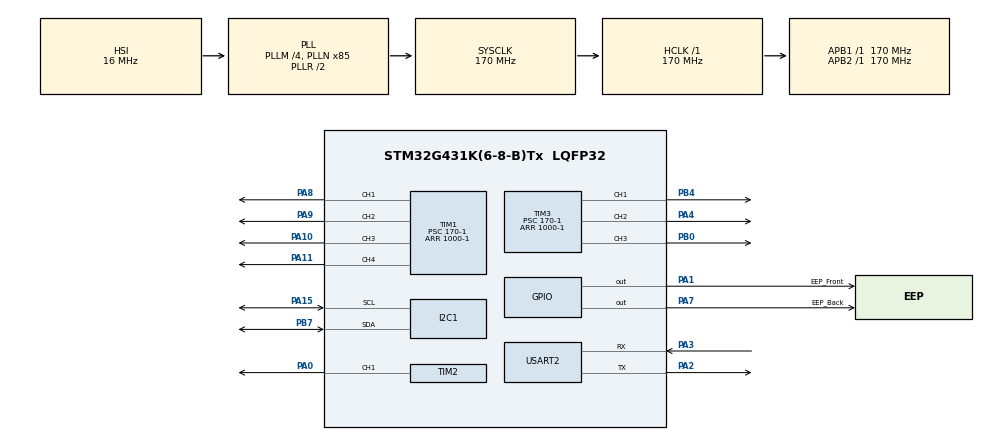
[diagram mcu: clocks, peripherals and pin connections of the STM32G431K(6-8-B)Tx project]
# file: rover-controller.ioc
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I2C1.Timing=0x40B285C2
Mcu.Family=STM32G4
Mcu.Name=STM32G431K(6-8-B)Tx
Mcu.Package=LQFP32
NUCLEO-G431KB.LD2=true
NUCLEO-G431KB.VCP=false
NVIC.I2C1_EV_IRQn=true\:5\:0\:true\:false\:true\:true\:true\:true
NVIC.PriorityGroup=NVIC_PRIORITYGROUP_4
PA0.Signal=S_TIM2_CH1
PA1.GPIO_Label=EEP_Front
PA1.Signal=GPIO_Output
PA10.Signal=S_TIM1_CH3
PA11.Signal=S_TIM1_CH4
PA13.Signal=SYS_JTMS-SWDIO
PA14.GPIO_Label=T_SWCLK
PA14.Signal=SYS_JTCK-SWCLK
PA15.Mode=I2C
PA15.Signal=I2C1_SCL
PA2.Mode=Asynchronous
PA2.Signal=USART2_TX
PA3.Mode=Asynchronous
PA3.Signal=USART2_RX
PA4.Signal=S_TIM3_CH2
PA7.GPIO_Label=EEP_Back
PA7.Signal=GPIO_Output
PA8.Signal=S_TIM1_CH1
PA9.Signal=S_TIM1_CH2
PB0.Signal=S_TIM3_CH3
PB4.Signal=S_TIM3_CH1
PB7.Mode=I2C
PB7.Signal=I2C1_SDA
ProjectManager.HeapSize=0x200
ProjectManager.StackSize=0x400
ProjectManager.TargetToolchain=STM32CubeIDE
RCC.ADC12Freq_Value=170000000
RCC.AHBFreq_Value=170000000
RCC.APB1Freq_Value=170000000
RCC.APB1TimFreq_Value=170000000
RCC.APB2Freq_Value=170000000
RCC.APB2TimFreq_Value=170000000
RCC.CortexFreq_Value=170000000
RCC.EXTERNAL_CLOCK_VALUE=12288000
RCC.HCLKFreq_Value=170000000
RCC.HSE_VALUE=8000000
RCC.HSI48_VALUE=48000000
RCC.HSI_VALUE=16000000
RCC.LSE_VALUE=32768
RCC.PLLM=RCC_PLLM_DIV4
RCC.PLLN=85
RCC.SYSCLKFreq_VALUE=170000000
RCC.SYSCLKSource=RCC_SYSCLKSOURCE_PLLCLK
RCC.USBFreq_Value=170000000
RCC.VCOOutputFreq_Value=340000000
SH.S_TIM1_CH1.0=TIM1_CH1,PWM Generation1 CH1
SH.S_TIM1_CH2.0=TIM1_CH2,PWM Generation2 CH2
SH.S_TIM1_CH3.0=TIM1_CH3,PWM Generation3 CH3
SH.S_TIM1_CH4.0=TIM1_CH4,PWM Generation4 CH4
SH.S_TIM2_CH1.0=TIM2_CH1,PWM Generation1 CH1
SH.S_TIM3_CH1.0=TIM3_CH1,PWM Generation1 CH1
SH.S_TIM3_CH2.0=TIM3_CH2,PWM Generation2 CH2
SH.S_TIM3_CH3.0=TIM3_CH3,PWM Generation3 CH3
TIM1.Channel-PWM\ Generation1\ CH1=TIM_CHANNEL_1
TIM1.Channel-PWM\ Generation2\ CH2=TIM_CHANNEL_2
TIM1.Channel-PWM\ Generation3\ CH3=TIM_CHANNEL_3
TIM1.Channel-PWM\ Generation4\ CH4=TIM_CHANNEL_4
TIM1.PeriodNoDither=1000-1
TIM1.Prescaler=170-1
TIM2.Channel-PWM\ Generation1\ CH1=TIM_CHANNEL_1
TIM2.PeriodNoDither=1000-1
TIM2.Prescaler=170-1
TIM3.Channel-PWM\ Generation1\ CH1=TIM_CHANNEL_1
TIM3.Channel-PWM\ Generation2\ CH2=TIM_CHANNEL_2
TIM3.Channel-PWM\ Generation3\ CH3=TIM_CHANNEL_3
TIM3.PeriodNoDither=1000-1
TIM3.Prescaler=170-1
USART2.VirtualMode-Asynchronous=VM_ASYNC
VP_NUCLEO-G431KB_VS_BSP_COMMON.Mode=COMMON
VP_SYS_VS_DBSignals.Mode=DisableDeadBatterySignals
VP_TIM1_VS_ClockSourceINT.Mode=Internal
VP_TIM3_VS_ClockSourceINT.Mode=Internal
board=NUCLEO-G431KB

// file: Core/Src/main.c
/* USER CODE BEGIN Header */
/**
 ******************************************************************************
 * @file           : main.c
 * @brief          : Main program body
 ******************************************************************************
 * @attention
 *
 * Copyright (c) 2026 STMicroelectronics.
 * All rights reserved.
 *
 * This software is licensed under terms that can be found in the LICENSE file
 * in the root directory of this software component.
 * If no LICENSE file comes with this software, it is provided AS-IS.
 *
 ******************************************************************************
 */
/* USER CODE END Header */
#include "main.h"

/* USER CODE BEGIN Includes */
#include "stdio.h"
/* USER CODE END Includes */

/* USER CODE BEGIN PTD */

typedef enum {
	MOTOR_RIGHT_FRONT,
	MOTOR_LEFT_FRONT,
	MOTOR_RIGHT_BACK,
	MOTOR_LEFT_BACK
} Motor;

typedef struct {
	int16_t acc_x;
	int16_t acc_y;
	int16_t acc_z;
	int16_t temp;
	int16_t gyro_x;
	int16_t gyro_y;
	int16_t gyro_z;
} MPU6050_Data;

/* USER CODE END PTD */

/* USER CODE BEGIN PD */

#define MPU6050_ADDR ((uint16_t) 0x68 << 1)
#define MPU6050_WHO_AM_I_ADDR ((uint16_t) 0x75)
#define MPU6050_PWR_MGMT_1 ((uint16_t) 0x6B)
#define MPU6050_GYRO_CONFIG ((uint16_t) 0x1B)
#define MPU6050_ACCEL_CONFIG ((uint16_t) 0x1C)

// This point to ACC_X_H but we use burst reading to read
// all sensor data at once
#define MPU6050_DATA_ADDR ((uint16_t) 0x3B)
/* USER CODE END PD */

I2C_HandleTypeDef hi2c1;

TIM_HandleTypeDef htim1;
TIM_HandleTypeDef htim2;
TIM_HandleTypeDef htim3;

UART_HandleTypeDef huart2;

/* USER CODE BEGIN PV */
uint8_t rx_command;
const uint32_t COMMAND_TIMEOUT_MS = 500;

volatile uint8_t i2c_busy = 0;
volatile uint8_t mpu_data_ready = 0;
volatile uint8_t i2c_error = 0;

/* USER CODE END PV */

void SystemClock_Config(void);
static void MX_GPIO_Init(void);
static void MX_USART2_UART_Init(void);
static void MX_TIM1_Init(void);
static void MX_TIM3_Init(void);
static void MX_I2C1_Init(void);
static void MX_TIM2_Init(void);
/* USER CODE BEGIN PFP */

/**
  * @brief  Enables all Timer channels for the Motors as well as EEP.
  *
  * @retval None
  */
void EnableMotorPWM(void);

/**
  * @brief  Sets the speed of a given motor
  *
  * @note   The speed dictated the Duty Cycle following the function
  * 		DutyCycle (%) = CCR / (ARR + 1) x 100
  *
  * 		Where ARR is 999.
  *
  * @param motor Motor to control (MOTOR_LEFT or MOTOR_RIGHT).
  * @param speed PWM value from -999 to +999.
  *              Positive = forward, negative = reverse,
  *              zero = stop.
  */
void Motor_SetSpeed(Motor motor, int32_t speed);

/**
  * @brief  Check connection and initialize the MPU6050 sensor.
  *
  */
void EnableMPU6050(void);

void readMPU6050(MPU6050_Data *pData);

void printMPU6050(MPU6050_Data *pData);
/* USER CODE END PFP */

/* USER CODE BEGIN 0 */
void EnableMotorPWM(void){
	  // Enable EEP Front
	  HAL_GPIO_WritePin(EEP_Front_GPIO_Port, EEP_Front_Pin, GPIO_PIN_SET);
	// Right - Front Wheel
	  HAL_TIM_PWM_Start(&htim1, TIM_CHANNEL_1);
	  HAL_TIM_PWM_Start(&htim1, TIM_CHANNEL_2);
	  // Left - Front Wheel
	  HAL_TIM_PWM_Start(&htim1, TIM_CHANNEL_3);
	  HAL_TIM_PWM_Start(&htim1, TIM_CHANNEL_4);

	  // Enable EEP Back
	  HAL_GPIO_WritePin(EEP_Back_GPIO_Port, EEP_Back_Pin, GPIO_PIN_SET);
	// Right - Back Wheel
	  HAL_TIM_PWM_Start(&htim3, TIM_CHANNEL_1);
	  HAL_TIM_PWM_Start(&htim3, TIM_CHANNEL_2);
	  // Left - Back Wheel
	  HAL_TIM_PWM_Start(&htim3, TIM_CHANNEL_3);
	  HAL_TIM_PWM_Start(&htim2, TIM_CHANNEL_1);
}

void Motor_SetSpeed(Motor motor, int32_t speed){
	// Limit speed so we don't accidentally go crazy
	if (speed > 999) speed = 999;
	if (speed < -999) speed = -999;

	// Placeholders for a Wheel's PWM channels
	volatile uint32_t *in1;
	volatile uint32_t *in2;

	// Init the placeholders with the correct CCR pointers
	switch (motor) {
		case MOTOR_RIGHT_FRONT:
			in1 = &TIM1->CCR1;
			in2 = &TIM1->CCR2;
			break;
		case MOTOR_LEFT_FRONT:
			in1 = &TIM1->CCR3;
			in2 = &TIM1->CCR4;
			break;
		case MOTOR_RIGHT_BACK:
			in1 = &TIM3->CCR1;
			in2 = &TIM3->CCR2;
			break;
		case MOTOR_LEFT_BACK:
			in1 = &TIM3->CCR3;
			in2 = &TIM2->CCR1;
			break;
		default:
			return;
	}

	// set the speed depending on direction (forward +, reverse -)
	if (speed > 0) {
		*in1 = (uint32_t) speed;
		*in2 = 0;
	} else if (speed < 0) {
		*in1 = 0;
		// the CCR registers are unsigned int, so we need a - to cancel it out
		*in2 = (uint32_t) (-speed);
	} else {
		*in1 = 0;
		*in2 = 0;
	}

}

void EnableMPU6050(void){
	const uint8_t expected = 0x68; // We expect the upper 6bits of the slave address
	uint8_t pRead;
	uint8_t pWrite;

	HAL_I2C_Mem_Read(&hi2c1, MPU6050_ADDR, MPU6050_WHO_AM_I_ADDR, I2C_MEMADD_SIZE_8BIT, &pRead, 1, 1000);
	if (pRead == expected){
		// Connection established, we can proceed with initialization
		// Wake up by setting all PWR_MGMT_1 bits to 0, including the SLEEP bit (6)
		pWrite = 0;
		HAL_I2C_Mem_Write(&hi2c1, MPU6050_ADDR, MPU6050_PWR_MGMT_1, I2C_MEMADD_SIZE_8BIT, &pWrite, 1, 1000);

		// Set gyroscope range to lowest --> 250 degrees/s (highest sensitivity)
		pWrite = 0;
		HAL_I2C_Mem_Write(&hi2c1, MPU6050_ADDR, MPU6050_GYRO_CONFIG, I2C_MEMADD_SIZE_8BIT, &pWrite, 1, 1000);

		// Set accelerometer range to lowest --> -/+ 2g (highest sensitivity)
		pWrite = 0;
		HAL_I2C_Mem_Write(&hi2c1, MPU6050_ADDR, MPU6050_ACCEL_CONFIG, I2C_MEMADD_SIZE_8BIT, &pWrite, 1, 1000);

	}
}

void readMPU6050(MPU6050_Data *pData){
	// 0x3B (H), 0x3C (L)
	uint8_t buffer[14];

	HAL_I2C_Mem_Read(&hi2c1, MPU6050_ADDR, MPU6050_DATA_ADDR, I2C_MEMADD_SIZE_8BIT, (uint8_t *) buffer, 14, 1000);

	pData->acc_x = (uint16_t) (buffer[0] << 8 | buffer[1]); // 0x3B (H), 0x3C (L), bitwise-OR
	pData->acc_y = (uint16_t) (buffer[2] << 8 | buffer[3]);
	pData->acc_z = (uint16_t) (buffer[4] << 8 | buffer[5]);
	pData->temp = (uint16_t) (buffer[6] << 8 | buffer[7]);
	pData->gyro_x = (uint16_t) (buffer[8] << 8 | buffer[9]);
	pData->gyro_y = (uint16_t) (buffer[10] << 8 | buffer[11]);
	pData->gyro_z = (uint16_t) (buffer[12] << 8 | buffer[13]);
}

uint8_t mpu_buffer[14];

void MPU6050_Read_IT(void)
{
    if (i2c_busy == 0)
    {
        i2c_busy = 1;

        HAL_StatusTypeDef status;

        status = HAL_I2C_Mem_Read_IT(
            &hi2c1,
            MPU6050_ADDR,
			MPU6050_DATA_ADDR,
            I2C_MEMADD_SIZE_8BIT,
            mpu_buffer,
            14
        );

        if (status != HAL_OK)
        {
            i2c_busy = 0;
            i2c_error = 1;
        }
    }
}

void HAL_I2C_MemRxCpltCallback(I2C_HandleTypeDef *hi2c)
{
    if (hi2c->Instance == I2C1)
    {
        i2c_busy = 0;
        mpu_data_ready = 1;
    }
}

void printMPU6050(MPU6050_Data *pData){
	char tx_buffer[128];

	float acc_x_f = pData->acc_x / 16384.0f;
	float acc_y_f = pData->acc_y / 16384.0f;
	float acc_z_f = pData->acc_z / 16384.0f;

	float temp_f = pData->temp / 340.0f + 36.53f;

	float gyro_x_f = pData->gyro_x / 131.068f;
	float gyro_y_f = pData->gyro_y / 131.068f;
	float gyro_z_f = pData->gyro_z / 131.068f;

	int len = sprintf(tx_buffer, "AX:%f, AY:%f, AZ:%f, T:%f, GX:%f, GY:%f, GZ:%f\r\n",
			acc_x_f, acc_y_f, acc_z_f,
			temp_f,
			gyro_x_f,  gyro_y_f,  gyro_z_f);

	HAL_UART_Transmit(&huart2, (uint8_t*)tx_buffer, len, HAL_MAX_DELAY);
}

/* USER CODE END 0 */

int main(void)
{

  /* MCU Configuration--------------------------------------------------------*/

  /* Reset of all peripherals, Initializes the Flash interface and the Systick. */
  HAL_Init();

  /* Configure the system clock */
  SystemClock_Config();

  /* Initialize all configured peripherals */
  MX_GPIO_Init();
  MX_USART2_UART_Init();
  MX_TIM1_Init();
  MX_TIM3_Init();
  MX_I2C1_Init();
  MX_TIM2_Init();
  /* USER CODE BEGIN 2 */

  EnableMotorPWM();
  EnableMPU6050();

  /* USER CODE END 2 */

  /* Initialize leds */
  BSP_LED_Init(LED_GREEN);

  /* Infinite loop */
  /* USER CODE BEGIN WHILE */

  // We set a threshold so our motors don't spin forever if
  // some time elapsed since the last command

  MPU6050_Data mpuData;
  volatile uint32_t last_command_time = HAL_GetTick();

  while (1) {
	  MPU6050_Read_IT();
	 if(mpu_data_ready){
		// MPU
//		readMPU6050(&mpuData);
//		printMPU6050(&mpuData);
		 int16_t accel_x = (int16_t)((mpu_buffer[0] << 8) | mpu_buffer[1]);
		 int16_t accel_y = (int16_t)((mpu_buffer[2] << 8) | mpu_buffer[3]);
		 int16_t accel_z = (int16_t)((mpu_buffer[4] << 8) | mpu_buffer[5]);

		 int16_t temperature = (int16_t)((mpu_buffer[6] << 8) | mpu_buffer[7]);

		 int16_t gyro_x = (int16_t)((mpu_buffer[8] << 8) | mpu_buffer[9]);
		 int16_t gyro_y = (int16_t)((mpu_buffer[10] << 8) | mpu_buffer[11]);
		 int16_t gyro_z = (int16_t)((mpu_buffer[12] << 8) | mpu_buffer[13]);
		 mpu_data_ready = 0;
	 }

	// Check the timeout (Watchdog)
	if ((HAL_GetTick() - last_command_time) >= COMMAND_TIMEOUT_MS){
		// If there was no command in a while (maybe the Rock died), stop the wheels.
		Motor_SetSpeed(MOTOR_RIGHT_FRONT, 0);
		Motor_SetSpeed(MOTOR_LEFT_FRONT, 0);
		Motor_SetSpeed(MOTOR_RIGHT_BACK, 0);
		Motor_SetSpeed(MOTOR_LEFT_BACK, 0);
	}
    // Receive a command via UART
    HAL_StatusTypeDef status = HAL_UART_Receive(&huart2, &rx_command, 1, 50);
    if (status == HAL_OK){
    	switch (rx_command){
    	case 'w':
    		// Drive forward
    		Motor_SetSpeed(MOTOR_RIGHT_FRONT, 500);
    		Motor_SetSpeed(MOTOR_LEFT_FRONT, 500);
    		Motor_SetSpeed(MOTOR_RIGHT_BACK, 500);
    		Motor_SetSpeed(MOTOR_LEFT_BACK, 500);
    		last_command_time = HAL_GetTick();
    		break;
    	case 's':
    		// Drive forward
    		Motor_SetSpeed(MOTOR_RIGHT_FRONT, -500);
    		Motor_SetSpeed(MOTOR_LEFT_FRONT, -500);
    		Motor_SetSpeed(MOTOR_RIGHT_BACK, -500);
    		Motor_SetSpeed(MOTOR_LEFT_BACK, -500);
    		last_command_time = HAL_GetTick();
    		break;
    	case 'd':
    		// Turn Right
    		Motor_SetSpeed(MOTOR_RIGHT_FRONT, -500);
    		Motor_SetSpeed(MOTOR_LEFT_FRONT, 500);
    		Motor_SetSpeed(MOTOR_RIGHT_BACK, -500);
    		Motor_SetSpeed(MOTOR_LEFT_BACK, 500);
    		last_command_time = HAL_GetTick();
    		break;
    	case 'a':
    		// Turn Left
    		Motor_SetSpeed(MOTOR_RIGHT_FRONT, 500);
    		Motor_SetSpeed(MOTOR_LEFT_FRONT, -500);
    		Motor_SetSpeed(MOTOR_RIGHT_BACK, 500);
    		Motor_SetSpeed(MOTOR_LEFT_BACK, -500);
    		last_command_time = HAL_GetTick();
    		break;

    	case ' ': // Space
    		// Stop
    		Motor_SetSpeed(MOTOR_RIGHT_FRONT, 0);
    		Motor_SetSpeed(MOTOR_LEFT_FRONT, 0);
    		Motor_SetSpeed(MOTOR_RIGHT_BACK, 0);
    		Motor_SetSpeed(MOTOR_LEFT_BACK, 0);
    		last_command_time = HAL_GetTick();
    		break;
    	default:
    		break;
    	}

    }

    /* USER CODE END WHILE */

  }
}

void SystemClock_Config(void)
{
  RCC_OscInitTypeDef RCC_OscInitStruct = {0};
  RCC_ClkInitTypeDef RCC_ClkInitStruct = {0};

  /** Configure the main internal regulator output voltage
  */
  HAL_PWREx_ControlVoltageScaling(PWR_REGULATOR_VOLTAGE_SCALE1_BOOST);

  /** Initializes the RCC Oscillators according to the specified parameters
  * in the RCC_OscInitTypeDef structure.
  */
  RCC_OscInitStruct.OscillatorType = RCC_OSCILLATORTYPE_HSI;
  RCC_OscInitStruct.HSIState = RCC_HSI_ON;
  RCC_OscInitStruct.HSICalibrationValue = RCC_HSICALIBRATION_DEFAULT;
  RCC_OscInitStruct.PLL.PLLState = RCC_PLL_ON;
  RCC_OscInitStruct.PLL.PLLSource = RCC_PLLSOURCE_HSI;
  RCC_OscInitStruct.PLL.PLLM = RCC_PLLM_DIV4;
  RCC_OscInitStruct.PLL.PLLN = 85;
  RCC_OscInitStruct.PLL.PLLP = RCC_PLLP_DIV2;
  RCC_OscInitStruct.PLL.PLLQ = RCC_PLLQ_DIV2;
  RCC_OscInitStruct.PLL.PLLR = RCC_PLLR_DIV2;
  if (HAL_RCC_OscConfig(&RCC_OscInitStruct) != HAL_OK)
  {
    Error_Handler();
  }

  /** Initializes the CPU, AHB and APB buses clocks
  */
  RCC_ClkInitStruct.ClockType = RCC_CLOCKTYPE_HCLK|RCC_CLOCKTYPE_SYSCLK
                              |RCC_CLOCKTYPE_PCLK1|RCC_CLOCKTYPE_PCLK2;
  RCC_ClkInitStruct.SYSCLKSource = RCC_SYSCLKSOURCE_PLLCLK;
  RCC_ClkInitStruct.AHBCLKDivider = RCC_SYSCLK_DIV1;
  RCC_ClkInitStruct.APB1CLKDivider = RCC_HCLK_DIV1;
  RCC_ClkInitStruct.APB2CLKDivider = RCC_HCLK_DIV1;

  if (HAL_RCC_ClockConfig(&RCC_ClkInitStruct, FLASH_LATENCY_4) != HAL_OK)
  {
    Error_Handler();
  }
}

static void MX_I2C1_Init(void)
{

  hi2c1.Instance = I2C1;
  hi2c1.Init.Timing = 0x40B285C2;
  hi2c1.Init.OwnAddress1 = 0;
  hi2c1.Init.AddressingMode = I2C_ADDRESSINGMODE_7BIT;
  hi2c1.Init.DualAddressMode = I2C_DUALADDRESS_DISABLE;
  hi2c1.Init.OwnAddress2 = 0;
  hi2c1.Init.OwnAddress2Masks = I2C_OA2_NOMASK;
  hi2c1.Init.GeneralCallMode = I2C_GENERALCALL_DISABLE;
  hi2c1.Init.NoStretchMode = I2C_NOSTRETCH_DISABLE;
  if (HAL_I2C_Init(&hi2c1) != HAL_OK)
  {
    Error_Handler();
  }

  /** Configure Analogue filter
  */
  if (HAL_I2CEx_ConfigAnalogFilter(&hi2c1, I2C_ANALOGFILTER_ENABLE) != HAL_OK)
  {
    Error_Handler();
  }

  /** Configure Digital filter
  */
  if (HAL_I2CEx_ConfigDigitalFilter(&hi2c1, 0) != HAL_OK)
  {
    Error_Handler();
  }

}

static void MX_TIM1_Init(void)
{

  TIM_ClockConfigTypeDef sClockSourceConfig = {0};
  TIM_MasterConfigTypeDef sMasterConfig = {0};
  TIM_OC_InitTypeDef sConfigOC = {0};
  TIM_BreakDeadTimeConfigTypeDef sBreakDeadTimeConfig = {0};

  htim1.Instance = TIM1;
  htim1.Init.Prescaler = 170-1;
  htim1.Init.CounterMode = TIM_COUNTERMODE_UP;
  htim1.Init.Period = 999;
  htim1.Init.ClockDivision = TIM_CLOCKDIVISION_DIV1;
  htim1.Init.RepetitionCounter = 0;
  htim1.Init.AutoReloadPreload = TIM_AUTORELOAD_PRELOAD_DISABLE;
  if (HAL_TIM_Base_Init(&htim1) != HAL_OK)
  {
    Error_Handler();
  }
  sClockSourceConfig.ClockSource = TIM_CLOCKSOURCE_INTERNAL;
  if (HAL_TIM_ConfigClockSource(&htim1, &sClockSourceConfig) != HAL_OK)
  {
    Error_Handler();
  }
  if (HAL_TIM_PWM_Init(&htim1) != HAL_OK)
  {
    Error_Handler();
  }
  sMasterConfig.MasterOutputTrigger = TIM_TRGO_RESET;
  sMasterConfig.MasterOutputTrigger2 = TIM_TRGO2_RESET;
  sMasterConfig.MasterSlaveMode = TIM_MASTERSLAVEMODE_DISABLE;
  if (HAL_TIMEx_MasterConfigSynchronization(&htim1, &sMasterConfig) != HAL_OK)
  {
    Error_Handler();
  }
  sConfigOC.OCMode = TIM_OCMODE_PWM1;
  sConfigOC.Pulse = 0;
  sConfigOC.OCPolarity = TIM_OCPOLARITY_HIGH;
  sConfigOC.OCNPolarity = TIM_OCNPOLARITY_HIGH;
  sConfigOC.OCFastMode = TIM_OCFAST_DISABLE;
  sConfigOC.OCIdleState = TIM_OCIDLESTATE_RESET;
  sConfigOC.OCNIdleState = TIM_OCNIDLESTATE_RESET;
  if (HAL_TIM_PWM_ConfigChannel(&htim1, &sConfigOC, TIM_CHANNEL_1) != HAL_OK)
  {
    Error_Handler();
  }
  if (HAL_TIM_PWM_ConfigChannel(&htim1, &sConfigOC, TIM_CHANNEL_2) != HAL_OK)
  {
    Error_Handler();
  }
  if (HAL_TIM_PWM_ConfigChannel(&htim1, &sConfigOC, TIM_CHANNEL_3) != HAL_OK)
  {
    Error_Handler();
  }
  if (HAL_TIM_PWM_ConfigChannel(&htim1, &sConfigOC, TIM_CHANNEL_4) != HAL_OK)
  {
    Error_Handler();
  }
  sBreakDeadTimeConfig.OffStateRunMode = TIM_OSSR_DISABLE;
  sBreakDeadTimeConfig.OffStateIDLEMode = TIM_OSSI_DISABLE;
  sBreakDeadTimeConfig.LockLevel = TIM_LOCKLEVEL_OFF;
  sBreakDeadTimeConfig.DeadTime = 0;
  sBreakDeadTimeConfig.BreakState = TIM_BREAK_DISABLE;
  sBreakDeadTimeConfig.BreakPolarity = TIM_BREAKPOLARITY_HIGH;
  sBreakDeadTimeConfig.BreakFilter = 0;
  sBreakDeadTimeConfig.BreakAFMode = TIM_BREAK_AFMODE_INPUT;
  sBreakDeadTimeConfig.Break2State = TIM_BREAK2_DISABLE;
  sBreakDeadTimeConfig.Break2Polarity = TIM_BREAK2POLARITY_HIGH;
  sBreakDeadTimeConfig.Break2Filter = 0;
  sBreakDeadTimeConfig.Break2AFMode = TIM_BREAK_AFMODE_INPUT;
  sBreakDeadTimeConfig.AutomaticOutput = TIM_AUTOMATICOUTPUT_DISABLE;
  if (HAL_TIMEx_ConfigBreakDeadTime(&htim1, &sBreakDeadTimeConfig) != HAL_OK)
  {
    Error_Handler();
  }
  HAL_TIM_MspPostInit(&htim1);

}

static void MX_TIM2_Init(void)
{

  TIM_MasterConfigTypeDef sMasterConfig = {0};
  TIM_OC_InitTypeDef sConfigOC = {0};

  htim2.Instance = TIM2;
  htim2.Init.Prescaler = 170-1;
  htim2.Init.CounterMode = TIM_COUNTERMODE_UP;
  htim2.Init.Period = 999;
  htim2.Init.ClockDivision = TIM_CLOCKDIVISION_DIV1;
  htim2.Init.AutoReloadPreload = TIM_AUTORELOAD_PRELOAD_DISABLE;
  if (HAL_TIM_PWM_Init(&htim2) != HAL_OK)
  {
    Error_Handler();
  }
  sMasterConfig.MasterOutputTrigger = TIM_TRGO_RESET;
  sMasterConfig.MasterSlaveMode = TIM_MASTERSLAVEMODE_DISABLE;
  if (HAL_TIMEx_MasterConfigSynchronization(&htim2, &sMasterConfig) != HAL_OK)
  {
    Error_Handler();
  }
  sConfigOC.OCMode = TIM_OCMODE_PWM1;
  sConfigOC.Pulse = 0;
  sConfigOC.OCPolarity = TIM_OCPOLARITY_HIGH;
  sConfigOC.OCFastMode = TIM_OCFAST_DISABLE;
  if (HAL_TIM_PWM_ConfigChannel(&htim2, &sConfigOC, TIM_CHANNEL_1) != HAL_OK)
  {
    Error_Handler();
  }
  HAL_TIM_MspPostInit(&htim2);

}

static void MX_TIM3_Init(void)
{

  TIM_ClockConfigTypeDef sClockSourceConfig = {0};
  TIM_MasterConfigTypeDef sMasterConfig = {0};
  TIM_OC_InitTypeDef sConfigOC = {0};

  htim3.Instance = TIM3;
  htim3.Init.Prescaler = 170-1;
  htim3.Init.CounterMode = TIM_COUNTERMODE_UP;
  htim3.Init.Period = 999;
  htim3.Init.ClockDivision = TIM_CLOCKDIVISION_DIV1;
  htim3.Init.AutoReloadPreload = TIM_AUTORELOAD_PRELOAD_DISABLE;
  if (HAL_TIM_Base_Init(&htim3) != HAL_OK)
  {
    Error_Handler();
  }
  sClockSourceConfig.ClockSource = TIM_CLOCKSOURCE_INTERNAL;
  if (HAL_TIM_ConfigClockSource(&htim3, &sClockSourceConfig) != HAL_OK)
  {
    Error_Handler();
  }
  if (HAL_TIM_PWM_Init(&htim3) != HAL_OK)
  {
    Error_Handler();
  }
  sMasterConfig.MasterOutputTrigger = TIM_TRGO_RESET;
  sMasterConfig.MasterSlaveMode = TIM_MASTERSLAVEMODE_DISABLE;
  if (HAL_TIMEx_MasterConfigSynchronization(&htim3, &sMasterConfig) != HAL_OK)
  {
    Error_Handler();
  }
  sConfigOC.OCMode = TIM_OCMODE_PWM1;
  sConfigOC.Pulse = 0;
  sConfigOC.OCPolarity = TIM_OCPOLARITY_HIGH;
  sConfigOC.OCFastMode = TIM_OCFAST_DISABLE;
  if (HAL_TIM_PWM_ConfigChannel(&htim3, &sConfigOC, TIM_CHANNEL_1) != HAL_OK)
  {
    Error_Handler();
  }
  if (HAL_TIM_PWM_ConfigChannel(&htim3, &sConfigOC, TIM_CHANNEL_2) != HAL_OK)
  {
    Error_Handler();
  }
  if (HAL_TIM_PWM_ConfigChannel(&htim3, &sConfigOC, TIM_CHANNEL_3) != HAL_OK)
  {
    Error_Handler();
  }
  HAL_TIM_MspPostInit(&htim3);

}

static void MX_USART2_UART_Init(void)
{

  huart2.Instance = USART2;
  huart2.Init.BaudRate = 115200;
  huart2.Init.WordLength = UART_WORDLENGTH_8B;
  huart2.Init.StopBits = UART_STOPBITS_1;
  huart2.Init.Parity = UART_PARITY_NONE;
  huart2.Init.Mode = UART_MODE_TX_RX;
  huart2.Init.HwFlowCtl = UART_HWCONTROL_NONE;
  huart2.Init.OverSampling = UART_OVERSAMPLING_16;
  huart2.Init.OneBitSampling = UART_ONE_BIT_SAMPLE_DISABLE;
  huart2.Init.ClockPrescaler = UART_PRESCALER_DIV1;
  huart2.AdvancedInit.AdvFeatureInit = UART_ADVFEATURE_NO_INIT;
  if (HAL_UART_Init(&huart2) != HAL_OK)
  {
    Error_Handler();
  }
  if (HAL_UARTEx_SetTxFifoThreshold(&huart2, UART_TXFIFO_THRESHOLD_1_8) != HAL_OK)
  {
    Error_Handler();
  }
  if (HAL_UARTEx_SetRxFifoThreshold(&huart2, UART_RXFIFO_THRESHOLD_1_8) != HAL_OK)
  {
    Error_Handler();
  }
  if (HAL_UARTEx_DisableFifoMode(&huart2) != HAL_OK)
  {
    Error_Handler();
  }

}

static void MX_GPIO_Init(void)
{
  GPIO_InitTypeDef GPIO_InitStruct = {0};

  /* GPIO Ports Clock Enable */
  __HAL_RCC_GPIOA_CLK_ENABLE();
  __HAL_RCC_GPIOB_CLK_ENABLE();

  /*Configure GPIO pin Output Level */
  HAL_GPIO_WritePin(GPIOA, EEP_Front_Pin|EEP_Back_Pin, GPIO_PIN_RESET);

  /*Configure GPIO pins : EEP_Front_Pin EEP_Back_Pin */
  GPIO_InitStruct.Pin = EEP_Front_Pin|EEP_Back_Pin;
  GPIO_InitStruct.Mode = GPIO_MODE_OUTPUT_PP;
  GPIO_InitStruct.Pull = GPIO_NOPULL;
  GPIO_InitStruct.Speed = GPIO_SPEED_FREQ_LOW;
  HAL_GPIO_Init(GPIOA, &GPIO_InitStruct);

}

/* USER CODE BEGIN Header */
/**
 ******************************************************************************
 * @file           : main.c
 * @brief          : Main program body
 ******************************************************************************
 * @attention
 *
 * Copyright (c) 2026 STMicroelectronics.
 * All rights reserved.
 *
 * This software is licensed under terms that can be found in the LICENSE file
 * in the root directory of this software component.
 * If no LICENSE file comes with this software, it is provided AS-IS.
 *
 ******************************************************************************
 */
/* USER CODE END Header */

void Error_Handler(void)
{
  __disable_irq();
  while (1) {
  }
}
#ifdef USE_FULL_ASSERT
/**
  * @brief  Reports the name of the source file and the source line number
  *         where the assert_param error has occurred.
  * @param  file: pointer to the source file name
  * @param  line: assert_param error line source number
  * @retval None
  */
void assert_failed(uint8_t *file, uint32_t line)
{
  /* USER CODE BEGIN 6 */
  /* User can add his own implementation to report the file name and line
     number, ex: printf("Wrong parameters value: file %s on line %d\r\n", file,
     line) */
  /* USER CODE END 6 */
}
#endif /* USE_FULL_ASSERT */
